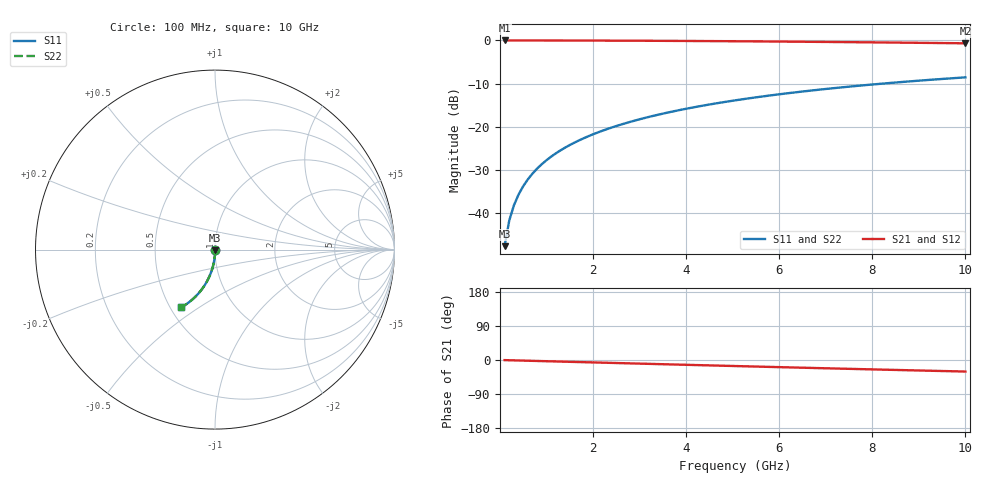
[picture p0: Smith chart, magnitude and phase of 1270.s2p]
# Hz S RI R 50.00
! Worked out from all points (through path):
!   100 points, 100 MHz to 10 GHz, reference 50 ohm
!   highest |S21| = -0.01 dB at 100 MHz (marker M1); lowest = -0.7 dB at 10 GHz (marker M2)
!   group delay of S21, straight-line fit = 8.49 ps
!   lowest |S11| = -47.6 dB at 100 MHz (marker M3), VSWR 1.01, Z = 50.1 - j0.412 ohm
!   |S11| at or under -10 dB: start of sweep to 8.219 GHz
!   |S22| runs from -47.6 to -8.6 dB; largest |S21 - S12| = 0
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1e8  0.000551 -0.00411  0.9994 -0.00557  0.9994 -0.00557  0.000551 -0.00411
2e8  0.000481 -0.00822  0.9993 -0.0111  0.9993 -0.0111  0.000481 -0.00822
3e8  0.000365 -0.0123  0.9992 -0.0167  0.9992 -0.0167  0.000365 -0.0123
4e8  0.000202 -0.0164  0.999 -0.0223  0.999 -0.0223  0.000202 -0.0164
5e8  -6.89e-06 -0.0205  0.9988 -0.0279  0.9988 -0.0279  -6.89e-06 -0.0205
6e8  -0.000262 -0.0246  0.9985 -0.0334  0.9985 -0.0334  -0.000262 -0.0246
7e8  -0.000562 -0.0287  0.9982 -0.039  0.9982 -0.039  -0.000562 -0.0287
8e8  -0.000908 -0.0328  0.9978 -0.0445  0.9978 -0.0445  -0.000908 -0.0328
9e8  -0.0013 -0.0369  0.9974 -0.0501  0.9974 -0.0501  -0.0013 -0.0369
1.1e9  -0.00222 -0.0451  0.9965 -0.0612  0.9965 -0.0612  -0.00222 -0.0451
1.4e9  -0.00394 -0.0573  0.9946 -0.0777  0.9946 -0.0777  -0.00394 -0.0573
1.8e9  -0.00686 -0.0734  0.9916 -0.0997  0.9916 -0.0997  -0.00686 -0.0734
2.1e9  -0.00951 -0.0854  0.9888 -0.1161  0.9888 -0.1161  -0.00951 -0.0854
2.5e9  -0.0137 -0.1012  0.9844 -0.1377  0.9844 -0.1377  -0.0137 -0.1012
2.9e9  -0.0185 -0.1167  0.9794 -0.1591  0.9794 -0.1591  -0.0185 -0.1167
3.4e9  -0.0254 -0.1357  0.9721 -0.1855  0.9721 -0.1855  -0.0254 -0.1357
4.2e9  -0.0386 -0.1651  0.9582 -0.2266  0.9582 -0.2266  -0.0386 -0.1651
5.1e9  -0.0562 -0.1963  0.9397 -0.2711  0.9397 -0.2711  -0.0562 -0.1963
5.9e9  -0.0741 -0.2222  0.9209 -0.3087  0.9209 -0.3087  -0.0741 -0.2222
6.7e9  -0.0938 -0.2461  0.9 -0.3445  0.9 -0.3445  -0.0938 -0.2461
8.4e9  -0.1407 -0.29  0.8503 -0.4136  0.8503 -0.4136  -0.1407 -0.29
1e10  -0.1892 -0.3222  0.7984 -0.4698  0.7984 -0.4698  -0.1892 -0.3222
